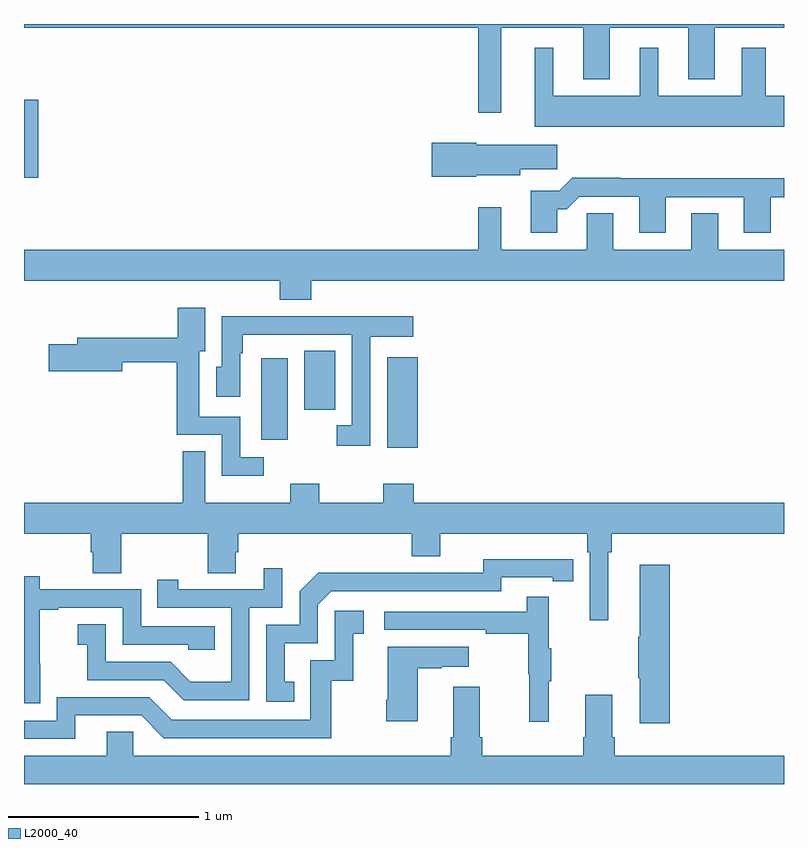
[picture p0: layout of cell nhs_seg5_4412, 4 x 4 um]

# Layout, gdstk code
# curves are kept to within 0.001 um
import gdstk
lib = gdstk.Library(unit=1e-6, precision=1e-09)
def R(c, l, rs):  # rectangles x0, y0, x1, y1
    for r in rs: c.add(gdstk.rectangle(r[:2], r[2:], *l))
def P(c, l, *ps):  # polygons
    for p in ps: c.add(gdstk.Polygon(p, *l))
L2000_40 = (2000, 40)

nhs_seg5_4412 = lib.new_cell('nhs_seg5_4412')
R(nhs_seg5_4412, L2000_40, [(372.911,834.57,373.072,835.045), (372.248,834.612,372.388,835.039), (372.476,834.768,372.637,835.079), (371,835.991,371.074,836.401)])
P(nhs_seg5_4412, L2000_40, [(373.513,836.78),(373.943,836.78),(373.943,836.507),(374.083,836.507),(374.083,836.78),(374.495,836.78),(374.495,836.507),(374.635,836.507),(374.635,836.78),(375,836.78),(375,836.799),(371,836.799),(371,836.78),(373.392,836.78),(373.392,836.331),(373.513,836.331)],
  [(375,836.422),(374.905,836.422),(374.905,836.674),(374.777,836.674),(374.777,836.422),(374.338,836.422),(374.338,836.674),(374.24,836.674),(374.24,836.422),(373.786,836.422),(373.786,836.674),(373.688,836.674),(373.688,836.258),(375,836.258)],
  [(373.38,836.003),(373.612,836.003),(373.612,836.035),(373.807,836.035),(373.807,836.164),(373.38,836.164),(373.38,836.174),(373.146,836.174),(373.146,835.996),(373.38,835.996)],
  [(373.807,835.823),(373.856,835.823),(373.923,835.89),(374.237,835.89),(374.237,835.701),(374.377,835.701),(374.377,835.887),(374.789,835.887),(374.789,835.701),(374.929,835.701),(374.929,835.887),(375,835.887),(375,835.988),(374.141,835.988),(374.141,835.991),(373.886,835.991),(373.816,835.921),(373.667,835.921),(373.667,835.701),(373.807,835.701)],
  [(372.512,835.448),(375,835.448),(375,835.612),(374.653,835.612),(374.653,835.802),(374.513,835.802),(374.513,835.612),(374.101,835.612),(374.101,835.802),(373.962,835.802),(373.962,835.612),(373.513,835.612),(373.513,835.834),(373.392,835.834),(373.392,835.612),(371,835.612),(371,835.448),(372.347,835.448),(372.347,835.349),(372.512,835.349)],
  [(372.262,834.519),(372.138,834.519),(372.138,834.732),(371.923,834.732),(371.923,835.077),(371.953,835.077),(371.953,835.306),(371.81,835.306),(371.81,835.147),(371.279,835.147),(371.279,835.113),(371.13,835.113),(371.13,834.971),(371.518,834.971),(371.518,835.018),(371.805,835.018),(371.805,834.636),(372.042,834.636),(372.042,834.422),(372.262,834.422)],
  [(372.822,835.154),(373.048,835.154),(373.048,835.262),(372.629,835.262),(372.629,835.26),(372.263,835.26),(372.263,835.262),(372.042,835.262),(372.042,834.996),(372.011,834.996),(372.011,834.837),(372.138,834.837),(372.138,835.067),(372.151,835.067),(372.151,835.164),(372.726,835.164),(372.726,834.687),(372.645,834.687),(372.645,834.579),(372.822,834.579)],
  [(374.074,834.02),(374.093,834.02),(374.093,834.116),(375,834.116),(375,834.28),(373.052,834.28),(373.052,834.379),(372.892,834.379),(372.892,834.28),(372.555,834.28),(372.555,834.379),(372.4,834.379),(372.4,834.28),(371.953,834.28),(371.953,834.551),(371.835,834.551),(371.835,834.28),(371,834.28),(371,834.116),(371.351,834.116),(371.351,834.018),(371.363,834.018),(371.363,833.908),(371.511,833.908),(371.511,834.116),(371.968,834.116),(371.968,833.908),(372.115,833.908),(372.115,834.018),(372.128,834.018),(372.128,834.116),(373.04,834.116),(373.04,833.999),(373.192,833.999),(373.192,834.116),(373.964,834.116),(373.964,834.02),(373.977,834.02),(373.977,833.661),(374.074,833.661)],
  [(372.422,833.337),(372.373,833.337),(372.373,833.541),(372.546,833.541),(372.546,833.742),(372.618,833.814),(373.512,833.814),(373.512,833.886),(373.784,833.886),(373.784,833.866),(373.892,833.866),(373.892,833.982),(373.416,833.983),(373.416,833.91),(372.956,833.91),(372.956,833.912),(372.548,833.912),(372.45,833.814),(372.45,833.637),(372.276,833.637),(372.276,833.232),(372.422,833.232)],
  [(374.399,833.953),(374.24,833.953),(374.24,833.573),(374.233,833.573),(374.233,833.356),(374.24,833.356),(374.24,833.118),(374.399,833.118)],
  [(372.186,833.727),(372.36,833.727),(372.36,833.935),(372.263,833.935),(372.263,833.823),(371.812,833.823),(371.812,833.875),(371.701,833.875),(371.701,833.727),(372.09,833.727),(372.09,833.338),(371.876,833.338),(371.772,833.442),(371.43,833.442),(371.43,833.641),(371.283,833.641),(371.283,833.531),(371.332,833.531),(371.332,833.346),(371.735,833.346),(371.84,833.241),(372.186,833.241)],
  [(371.085,833.431),(371.084,833.431),(371.084,833.715),(371.179,833.715),(371.179,833.727),(371.52,833.727),(371.52,833.532),(371.865,833.532),(371.865,833.505),(372.005,833.505),(372.005,833.628),(371.616,833.628),(371.616,833.823),(371.082,833.823),(371.082,833.892),(371,833.892),(371,833.225),(371.085,833.225)],
  [(373.763,833.339),(373.774,833.339),(373.774,833.513),(373.763,833.513),(373.763,833.785),(373.645,833.785),(373.645,833.706),(372.897,833.706),(372.897,833.61),(373.429,833.61),(373.429,833.59),(373.653,833.59),(373.653,833.376),(373.66,833.376),(373.66,833.127),(373.763,833.127)],
  [(371.269,833.16),(371.616,833.16),(371.736,833.04),(372.616,833.04),(372.616,833.343),(372.734,833.343),(372.734,833.589),(372.787,833.589),(372.787,833.71),(372.636,833.71),(372.636,833.451),(372.507,833.451),(372.507,833.136),(371.778,833.136),(371.658,833.256),(371.172,833.256),(371.172,833.133),(371,833.133),(371,833.037),(371.269,833.037)],
  [(373.072,833.407),(373.199,833.407),(373.199,833.417),(373.342,833.417),(373.342,833.521),(372.914,833.521),(372.914,833.242),(372.907,833.242),(372.907,833.13),(373.072,833.13)],
  [(375,832.948),(374.108,832.948),(374.108,833.044),(374.095,833.044),(374.095,833.269),(373.955,833.269),(373.955,833.044),(373.943,833.044),(373.943,832.948),(373.412,832.948),(373.412,833.044),(373.399,833.044),(373.399,833.311),(373.259,833.311),(373.259,833.044),(373.247,833.044),(373.247,832.948),(371.574,832.948),(371.574,833.075),(371.435,833.075),(371.435,832.948),(371,832.948),(371,832.799),(375,832.799)])

lib.write_gds('nhs_seg5_4412.gds')
